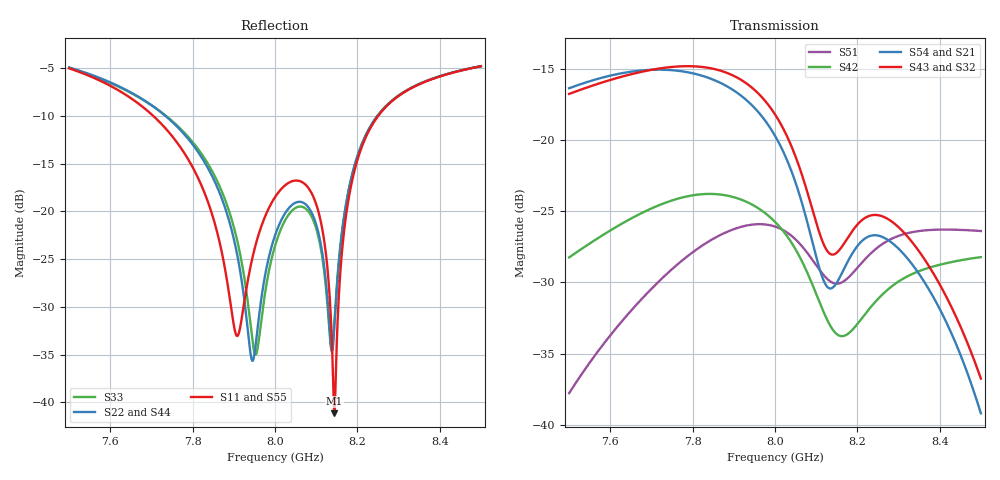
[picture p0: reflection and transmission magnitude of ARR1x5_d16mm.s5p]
! Touchstone file exported from HFSS 2025.1.0
!  File:  C:/Users/user/Documents/Ansoft/TFG_UWB-MIMO-Array.aedt
!  Generated:  09:03:13 PM Nov 21, 2026
!  Design:  ARR1x5_US3_PS4_2_1_dparam
!  Project:  TFG_UWB-MIMO-Array
!  Setup:  Setup_ch9
!  Solution:  Sweep_7p5_8p5
! Variables:
!  arr_d = 16mm
!  board_m = 13mm
!  board_x = 90mm
!  board_y = 26mm
!  cu_t = 0.035mm
!  line_w = 3.92mm
!  pad_xy = 22mm
!  pad_zn = 25mm
!  pad_zp = 33mm
!  par_L = 7.46mm
!  par_W = 10mm
!  par_yc = 0.75mm
!  par_z = 1.035mm
!  patch_L = 6.222mm
!  patch_W = 11.421266mm
!  sub_h = 2.07mm
!  tr_l = 6.6mm
!  tr_w = 0.8mm
!  u_Lu = 2.65mm
!  u_Wu = 4.4mm
!  u_t = 0.8mm
!  u_y0 = -0.7mm
# GHz S MA R 50.000000
! Terminal data exported
! Port[1] = P1
! Port[2] = P2
! Port[3] = P3
! Port[4] = P4
! Port[5] = P5
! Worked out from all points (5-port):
!   1001 points, 7.5 GHz to 8.5 GHz, reference 50 ohm
!   strongest paths, dB at 7.5 GHz, 7.75 GHz, 8 GHz, 8.25 GHz, 8.5 GHz:
!     S43: -16.7, -14.9, -18.2, -25.3, -36.8
!     S32: -16.8, -14.9, -18.2, -25.3, -37.1
!     S54: -16.4, -15.1, -19.7, -26.7, -39.2
!     S21: -16.3, -15.1, -19.7, -26.7, -39.1
!     S42: -28.2, -24.2, -25.7, -31.2, -28.2
!     S51: -37.8, -29.1, -26.1, -27.5, -26.4
!   lowest |S11| = -41.2 dB at 8.144 GHz (marker M1), VSWR 1.02, Z = 50.5 + j0.701 ohm
!   |S11| at or under -10 dB: 7.704 GHz to 8.251 GHz (546.3 MHz wide, 6.85 % of centre)
